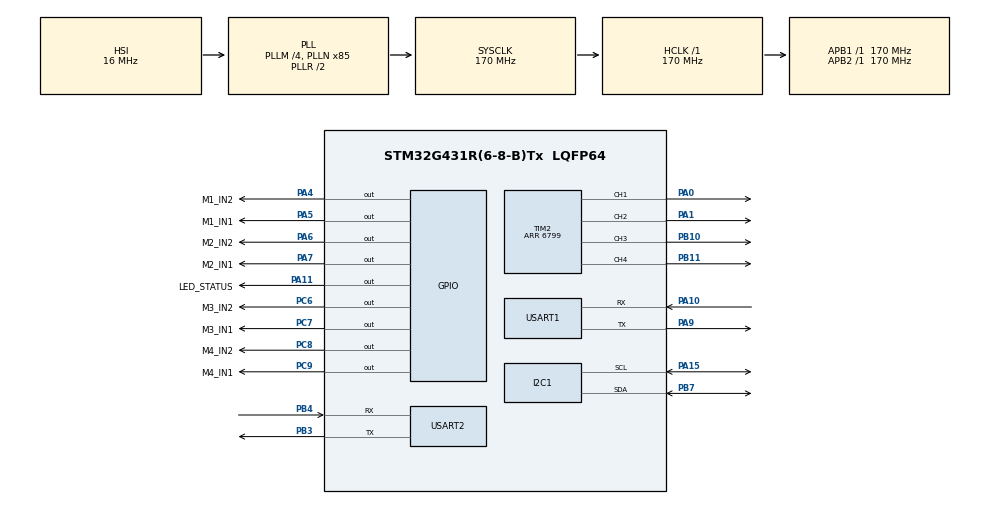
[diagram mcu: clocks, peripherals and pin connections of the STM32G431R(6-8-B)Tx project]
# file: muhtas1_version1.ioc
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I2C1.Timing=0x40B285C2
Mcu.Family=STM32G4
Mcu.Name=STM32G431R(6-8-B)Tx
Mcu.Package=LQFP64
NVIC.PriorityGroup=NVIC_PRIORITYGROUP_4
NVIC.USART1_IRQn=true\:0\:0\:false\:false\:true\:true\:true\:true
NVIC.USART2_IRQn=true\:0\:0\:false\:false\:true\:true\:true\:true
PA0.Signal=S_TIM2_CH1
PA1.Signal=S_TIM2_CH2
PA10.Mode=Asynchronous
PA10.Signal=USART1_RX
PA11.GPIO_Label=LED_STATUS
PA11.PinState=GPIO_PIN_SET
PA11.Signal=GPIO_Output
PA13.Mode=Serial_Wire
PA13.Signal=SYS_JTMS-SWDIO
PA14.Mode=Serial_Wire
PA14.Signal=SYS_JTCK-SWCLK
PA15.Mode=I2C
PA15.Signal=I2C1_SCL
PA4.GPIO_Label=M1_IN2
PA4.Signal=GPIO_Output
PA5.GPIO_Label=M1_IN1
PA5.Signal=GPIO_Output
PA6.GPIO_Label=M2_IN2
PA6.Signal=GPIO_Output
PA7.GPIO_Label=M2_IN1
PA7.Signal=GPIO_Output
PA9.Mode=Asynchronous
PA9.Signal=USART1_TX
PB10.Signal=S_TIM2_CH3
PB11.Signal=S_TIM2_CH4
PB3.Mode=Asynchronous
PB3.Signal=USART2_TX
PB4.Mode=Asynchronous
PB4.Signal=USART2_RX
PB7.Mode=I2C
PB7.Signal=I2C1_SDA
PC6.GPIO_Label=M3_IN2
PC6.Signal=GPIO_Output
PC7.GPIO_Label=M3_IN1
PC7.Signal=GPIO_Output
PC8.GPIO_Label=M4_IN2
PC8.Signal=GPIO_Output
PC9.GPIO_Label=M4_IN1
PC9.Signal=GPIO_Output
ProjectManager.HeapSize=0x200
ProjectManager.StackSize=0x400
ProjectManager.TargetToolchain=STM32CubeIDE
RCC.ADC12Freq_Value=170000000
RCC.AHBFreq_Value=170000000
RCC.APB1Freq_Value=170000000
RCC.APB1TimFreq_Value=170000000
RCC.APB2Freq_Value=170000000
RCC.APB2TimFreq_Value=170000000
RCC.CortexFreq_Value=170000000
RCC.EXTERNAL_CLOCK_VALUE=12288000
RCC.HCLKFreq_Value=170000000
RCC.HSE_VALUE=8000000
RCC.HSI48_VALUE=48000000
RCC.HSI_VALUE=16000000
RCC.LSE_VALUE=32768
RCC.PLLM=RCC_PLLM_DIV4
RCC.PLLN=85
RCC.SYSCLKFreq_VALUE=170000000
RCC.SYSCLKSource=RCC_SYSCLKSOURCE_PLLCLK
RCC.USBFreq_Value=170000000
RCC.VCOOutputFreq_Value=340000000
SH.S_TIM2_CH1.0=TIM2_CH1,PWM Generation1 CH1
SH.S_TIM2_CH2.0=TIM2_CH2,PWM Generation2 CH2
SH.S_TIM2_CH3.0=TIM2_CH3,PWM Generation3 CH3
SH.S_TIM2_CH4.0=TIM2_CH4,PWM Generation4 CH4
TIM2.Channel-PWM\ Generation1\ CH1=TIM_CHANNEL_1
TIM2.Channel-PWM\ Generation2\ CH2=TIM_CHANNEL_2
TIM2.Channel-PWM\ Generation3\ CH3=TIM_CHANNEL_3
TIM2.Channel-PWM\ Generation4\ CH4=TIM_CHANNEL_4
TIM2.PeriodNoDither=6799
USART1.VirtualMode-Asynchronous=VM_ASYNC
USART2.VirtualMode-Asynchronous=VM_ASYNC
VP_SYS_VS_DBSignals.Mode=DisableDeadBatterySignals
VP_TIM2_VS_ClockSourceINT.Mode=Internal
board=custom

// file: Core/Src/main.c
/* USER CODE BEGIN Header */
/**
  ******************************************************************************
  * @file           : main.c
  * @brief          : Main program body
  ******************************************************************************
  * @attention
  *
  * Copyright (c) 2025 STMicroelectronics.
  * All rights reserved.
  *
  * This software is licensed under terms that can be found in the LICENSE file
  * in the root directory of this software component.
  * If no LICENSE file comes with this software, it is provided AS-IS.
  *
  ******************************************************************************
  */
/* USER CODE END Header */
#include "main.h"

/* USER CODE BEGIN Includes */
#include <stdio.h>
#include <string.h>
#include <stdlib.h> // atoi fonksiyonu için
//deneme

/* USER CODE END Includes */

I2C_HandleTypeDef hi2c1;

TIM_HandleTypeDef htim2;

UART_HandleTypeDef huart1;
UART_HandleTypeDef huart2;

/* USER CODE BEGIN PV */
// --- Motor Nesnesi Yapısı ---
typedef struct {
    uint8_t voltage_mode;       // 5V veya 12V
    uint16_t max_pwm_limit;     // PWM üst limiti

    // Donanım Bağlantıları
    GPIO_TypeDef* port_in1;
    uint16_t pin_in1;
    GPIO_TypeDef* port_in2;
    uint16_t pin_in2;
    TIM_HandleTypeDef* htim;
    uint32_t channel;

    // Hedef ve Durum
    volatile uint16_t target_pwm;
    volatile int8_t target_dir;     // 1: İleri, -1: Geri, 0: Fren

    // Rampa Değişkenleri
    float current_pwm;
    int8_t current_dir;
} Motor_t;

Motor_t motors[4]; // 4 Motorumuz

// --- UART ve Tampon ---
#define RX_BUFFER_SIZE 32
uint8_t rx_temp;
uint8_t rx_buffer[RX_BUFFER_SIZE];
uint8_t rx_index = 0;
volatile uint8_t data_ready = 0; // Veri geldi bayrağı

char tx_buffer[128]; // Gönderim tamponu

// --- Sistem Durumu ---
uint8_t system_state = 0; // 0: Kurulum Modu, 1: Çalışma Modu
uint8_t config_step = 0;  // Hangi motoru soruyoruz?

// --- Ayarlar ---
#define PWM_PERIOD 6799
#define RAMP_STEP 50.0f  // Hızlanma adımı
#define RAMP_DELAY 10    // Döngü gecikmesi (ms)

/* USER CODE END PV */

void SystemClock_Config(void);
static void MX_GPIO_Init(void);
static void MX_TIM2_Init(void);
static void MX_USART2_UART_Init(void);
static void MX_I2C1_Init(void);
static void MX_USART1_UART_Init(void);
/* USER CODE BEGIN PFP */
void Motor_Init_Structs(void);
void Motor_SetVoltage(uint8_t index, uint8_t voltage);
void Motor_Update(void);
void Ask_Next_Config(void);
void Process_Command(char* cmd);

/* USER CODE END PFP */

/* USER CODE BEGIN 0 */
// 1. Structları Donanımla Eşleştirme
void Motor_Init_Structs(void)
{
    // MOTOR 1
    motors[0].htim = &htim2; motors[0].channel = TIM_CHANNEL_1;
    motors[0].port_in1 = M1_IN1_GPIO_Port; motors[0].pin_in1 = M1_IN1_Pin;
    motors[0].port_in2 = M1_IN2_GPIO_Port; motors[0].pin_in2 = M1_IN2_Pin;

    // MOTOR 2
    motors[1].htim = &htim2; motors[1].channel = TIM_CHANNEL_2;
    motors[1].port_in1 = M2_IN1_GPIO_Port; motors[1].pin_in1 = M2_IN1_Pin;
    motors[1].port_in2 = M2_IN2_GPIO_Port; motors[1].pin_in2 = M2_IN2_Pin;

    // MOTOR 3
    motors[2].htim = &htim2; motors[2].channel = TIM_CHANNEL_3;
    motors[2].port_in1 = M3_IN1_GPIO_Port; motors[2].pin_in1 = M3_IN1_Pin;
    motors[2].port_in2 = M3_IN2_GPIO_Port; motors[2].pin_in2 = M3_IN2_Pin;

    // MOTOR 4
    motors[3].htim = &htim2; motors[3].channel = TIM_CHANNEL_4;
    motors[3].port_in1 = M4_IN1_GPIO_Port; motors[3].pin_in1 = M4_IN1_Pin;
    motors[3].port_in2 = M4_IN2_GPIO_Port; motors[3].pin_in2 = M4_IN2_Pin;
}

// 2. Voltaj Limiti Ayarlama
void Motor_SetVoltage(uint8_t index, uint8_t voltage)
{
    if(index >= 4) return;
    motors[index].voltage_mode = voltage;

    if(voltage == 5) {
        // 12V girişten 5V çıkış (%41.6)
        motors[index].max_pwm_limit = (uint16_t)(PWM_PERIOD * 0.416f);
    } else {
        motors[index].max_pwm_limit = PWM_PERIOD;
    }
}

// 3. Kullanıcıya Soru Sorma (Kurulum Sihirbazı)
void Ask_Next_Config(void)
{
    if (config_step < 4) {
        sprintf(tx_buffer, ">> Motor %d Calisma Voltaji? (5 veya 12): ", config_step + 1);
        HAL_UART_Transmit(&huart2, (uint8_t*)tx_buffer, strlen(tx_buffer), 100);
    } else {
        system_state = 1; // Çalışma moduna geç
        sprintf(tx_buffer, "\r\n--- KURULUM TAMAMLANDI ---\r\nHazir. Ornek: 'M1 F 50' veya 'A F'\r\n");
        HAL_UART_Transmit(&huart2, (uint8_t*)tx_buffer, strlen(tx_buffer), 100);
    }
}

// 4. Gelen Veriyi İşleme
void Process_Command(char* cmd)
{
    // Komutun başındaki boşlukları ve görünmez karakterleri atla
    char* p = cmd;
    while (*p == ' ' || *p == '\t' || *p == '\r' || *p == '\n') p++;

    // Eğer boş komutsa çık
    if (*p == 0) return;

    // --- MOD 0: KURULUM ---
    if (system_state == 0)
    {
        int voltage = atoi(p);
        if (voltage == 5 || voltage == 12) {
            Motor_SetVoltage(config_step, voltage);
            sprintf(tx_buffer, "   -> M%d: %dV OK.\r\n", config_step + 1, voltage);
            HAL_UART_Transmit(&huart2, (uint8_t*)tx_buffer, strlen(tx_buffer), 100);
            config_step++;
            Ask_Next_Config();
        } else {
            sprintf(tx_buffer, "   HATALI! Sadece 5 veya 12 giriniz.\r\n");
            HAL_UART_Transmit(&huart2, (uint8_t*)tx_buffer, strlen(tx_buffer), 100);
            Ask_Next_Config();
        }
    }
    // --- MOD 1: ÇALIŞMA ---
    else
    {
        // Toplu Komutlar
        if (p[0] == 'A') {
            char action;
            if (sscanf(p, "A %c", &action) == 1) {
                for(int i=0; i<4; i++) {
                    if (action == 'B') { motors[i].target_dir = 0; motors[i].target_pwm = 0; }
                    else if (action == 'F') motors[i].target_dir = 1;
                    else if (action == 'R') motors[i].target_dir = -1;
                }
                HAL_UART_Transmit(&huart2, (uint8_t*)"OK\r\n", 4, 100);
            }
        }
        // Tekil Komutlar
        else if (p[0] == 'M') {
            int m_id, spd_perc;
            char dir_chr;
            if (sscanf(p, "M%d %c %d", &m_id, &dir_chr, &spd_perc) == 3) {
                if (m_id >= 1 && m_id <= 4) {
                    int idx = m_id - 1;
                    if (dir_chr == 'F') motors[idx].target_dir = 1;
                    else if (dir_chr == 'R') motors[idx].target_dir = -1;
                    else if (dir_chr == 'B') motors[idx].target_dir = 0;

                    uint32_t calc = (motors[idx].max_pwm_limit * spd_perc) / 100;
                    motors[idx].target_pwm = (uint16_t)calc;

                    HAL_UART_Transmit(&huart2, (uint8_t*)"OK\r\n", 4, 100);
                }
            }
        }
    }

    // İşimiz bitti, buffer'ı sıfırla ki sonraki komuta "hayalet" karakter kalmasın.
    memset(rx_buffer, 0, RX_BUFFER_SIZE);
}

// 5. Motor Güncelleme (Rampa ve Güvenlik)
void Motor_Update(void)
{
    for(int i = 0; i < 4; i++)
    {
        // Yön Değişimi Güvenliği
        if (motors[i].current_dir != motors[i].target_dir)
        {
            if (motors[i].current_pwm > 0) {
                motors[i].current_pwm -= RAMP_STEP * 2; // Hızlı yavaşla
                if (motors[i].current_pwm < 0) motors[i].current_pwm = 0;
            } else {
                motors[i].current_dir = motors[i].target_dir; // Durunca yön değiştir
            }
        }
        else // Yön aynı ise normal rampa
        {
            if (motors[i].current_pwm < motors[i].target_pwm) {
                motors[i].current_pwm += RAMP_STEP;
                if(motors[i].current_pwm > motors[i].target_pwm) motors[i].current_pwm = motors[i].target_pwm;
            }
            else if (motors[i].current_pwm > motors[i].target_pwm) {
                motors[i].current_pwm -= RAMP_STEP;
                if(motors[i].current_pwm < 0) motors[i].current_pwm = 0;
            }
        }

        // Donanıma Uygula (Pinler)
        if (motors[i].current_dir == 1) { // İleri
            HAL_GPIO_WritePin(motors[i].port_in1, motors[i].pin_in1, GPIO_PIN_SET);
            HAL_GPIO_WritePin(motors[i].port_in2, motors[i].pin_in2, GPIO_PIN_RESET);
        } else if (motors[i].current_dir == -1) { // Geri
            HAL_GPIO_WritePin(motors[i].port_in1, motors[i].pin_in1, GPIO_PIN_RESET);
            HAL_GPIO_WritePin(motors[i].port_in2, motors[i].pin_in2, GPIO_PIN_SET);
        } else { // Fren
            HAL_GPIO_WritePin(motors[i].port_in1, motors[i].pin_in1, GPIO_PIN_SET);
            HAL_GPIO_WritePin(motors[i].port_in2, motors[i].pin_in2, GPIO_PIN_SET);
        }

        // Donanıma Uygula (PWM)
        __HAL_TIM_SET_COMPARE(motors[i].htim, motors[i].channel, (uint16_t)motors[i].current_pwm);
    }
}

/* USER CODE END 0 */

int main(void)
{

  /* MCU Configuration--------------------------------------------------------*/

  /* Reset of all peripherals, Initializes the Flash interface and the Systick. */
  HAL_Init();

  /* Configure the system clock */
  SystemClock_Config();

  /* Initialize all configured peripherals */
  MX_GPIO_Init();
  MX_TIM2_Init();
  MX_USART2_UART_Init();
  MX_I2C1_Init();
  MX_USART1_UART_Init();
  /* USER CODE BEGIN 2 */

  Motor_Init_Structs();

    // PWM Başlat
    HAL_TIM_PWM_Start(&htim2, TIM_CHANNEL_1);
    HAL_TIM_PWM_Start(&htim2, TIM_CHANNEL_2);
    HAL_TIM_PWM_Start(&htim2, TIM_CHANNEL_3);
    HAL_TIM_PWM_Start(&htim2, TIM_CHANNEL_4);

    // UART Dinle
    HAL_UART_Receive_IT(&huart2, &rx_temp, 1);

    // Sistemi Başlat (Ekran Temizle ve İlk Soruyu Sor)
    HAL_UART_Transmit(&huart2, (uint8_t*)"\033[2J\033[H", 7, 100); // Ekran temizle
    HAL_UART_Transmit(&huart2, (uint8_t*)"=== SISTEM BASLADI ===\r\n", 24, 100);
    Ask_Next_Config();

  /* USER CODE END 2 */

  /* Infinite loop */
  /* USER CODE BEGIN WHILE */
  while (1)
  {

	  if (data_ready) {
	            Process_Command((char*)rx_buffer);
	            data_ready = 0;
	        }

	        Motor_Update();
	        HAL_Delay(RAMP_DELAY);
    /* USER CODE END WHILE */

  }
}

void SystemClock_Config(void)
{
  RCC_OscInitTypeDef RCC_OscInitStruct = {0};
  RCC_ClkInitTypeDef RCC_ClkInitStruct = {0};

  /** Configure the main internal regulator output voltage
  */
  HAL_PWREx_ControlVoltageScaling(PWR_REGULATOR_VOLTAGE_SCALE1_BOOST);

  /** Initializes the RCC Oscillators according to the specified parameters
  * in the RCC_OscInitTypeDef structure.
  */
  RCC_OscInitStruct.OscillatorType = RCC_OSCILLATORTYPE_HSI;
  RCC_OscInitStruct.HSIState = RCC_HSI_ON;
  RCC_OscInitStruct.HSICalibrationValue = RCC_HSICALIBRATION_DEFAULT;
  RCC_OscInitStruct.PLL.PLLState = RCC_PLL_ON;
  RCC_OscInitStruct.PLL.PLLSource = RCC_PLLSOURCE_HSI;
  RCC_OscInitStruct.PLL.PLLM = RCC_PLLM_DIV4;
  RCC_OscInitStruct.PLL.PLLN = 85;
  RCC_OscInitStruct.PLL.PLLP = RCC_PLLP_DIV2;
  RCC_OscInitStruct.PLL.PLLQ = RCC_PLLQ_DIV2;
  RCC_OscInitStruct.PLL.PLLR = RCC_PLLR_DIV2;
  if (HAL_RCC_OscConfig(&RCC_OscInitStruct) != HAL_OK)
  {
    Error_Handler();
  }

  /** Initializes the CPU, AHB and APB buses clocks
  */
  RCC_ClkInitStruct.ClockType = RCC_CLOCKTYPE_HCLK|RCC_CLOCKTYPE_SYSCLK
                              |RCC_CLOCKTYPE_PCLK1|RCC_CLOCKTYPE_PCLK2;
  RCC_ClkInitStruct.SYSCLKSource = RCC_SYSCLKSOURCE_PLLCLK;
  RCC_ClkInitStruct.AHBCLKDivider = RCC_SYSCLK_DIV1;
  RCC_ClkInitStruct.APB1CLKDivider = RCC_HCLK_DIV1;
  RCC_ClkInitStruct.APB2CLKDivider = RCC_HCLK_DIV1;

  if (HAL_RCC_ClockConfig(&RCC_ClkInitStruct, FLASH_LATENCY_4) != HAL_OK)
  {
    Error_Handler();
  }
}

static void MX_I2C1_Init(void)
{

  hi2c1.Instance = I2C1;
  hi2c1.Init.Timing = 0x40B285C2;
  hi2c1.Init.OwnAddress1 = 0;
  hi2c1.Init.AddressingMode = I2C_ADDRESSINGMODE_7BIT;
  hi2c1.Init.DualAddressMode = I2C_DUALADDRESS_DISABLE;
  hi2c1.Init.OwnAddress2 = 0;
  hi2c1.Init.OwnAddress2Masks = I2C_OA2_NOMASK;
  hi2c1.Init.GeneralCallMode = I2C_GENERALCALL_DISABLE;
  hi2c1.Init.NoStretchMode = I2C_NOSTRETCH_DISABLE;
  if (HAL_I2C_Init(&hi2c1) != HAL_OK)
  {
    Error_Handler();
  }

  /** Configure Analogue filter
  */
  if (HAL_I2CEx_ConfigAnalogFilter(&hi2c1, I2C_ANALOGFILTER_ENABLE) != HAL_OK)
  {
    Error_Handler();
  }

  /** Configure Digital filter
  */
  if (HAL_I2CEx_ConfigDigitalFilter(&hi2c1, 0) != HAL_OK)
  {
    Error_Handler();
  }

}

static void MX_TIM2_Init(void)
{

  TIM_ClockConfigTypeDef sClockSourceConfig = {0};
  TIM_MasterConfigTypeDef sMasterConfig = {0};
  TIM_OC_InitTypeDef sConfigOC = {0};

  htim2.Instance = TIM2;
  htim2.Init.Prescaler = 0;
  htim2.Init.CounterMode = TIM_COUNTERMODE_UP;
  htim2.Init.Period = 6799;
  htim2.Init.ClockDivision = TIM_CLOCKDIVISION_DIV1;
  htim2.Init.AutoReloadPreload = TIM_AUTORELOAD_PRELOAD_DISABLE;
  if (HAL_TIM_Base_Init(&htim2) != HAL_OK)
  {
    Error_Handler();
  }
  sClockSourceConfig.ClockSource = TIM_CLOCKSOURCE_INTERNAL;
  if (HAL_TIM_ConfigClockSource(&htim2, &sClockSourceConfig) != HAL_OK)
  {
    Error_Handler();
  }
  if (HAL_TIM_PWM_Init(&htim2) != HAL_OK)
  {
    Error_Handler();
  }
  sMasterConfig.MasterOutputTrigger = TIM_TRGO_RESET;
  sMasterConfig.MasterSlaveMode = TIM_MASTERSLAVEMODE_DISABLE;
  if (HAL_TIMEx_MasterConfigSynchronization(&htim2, &sMasterConfig) != HAL_OK)
  {
    Error_Handler();
  }
  sConfigOC.OCMode = TIM_OCMODE_PWM1;
  sConfigOC.Pulse = 0;
  sConfigOC.OCPolarity = TIM_OCPOLARITY_HIGH;
  sConfigOC.OCFastMode = TIM_OCFAST_DISABLE;
  if (HAL_TIM_PWM_ConfigChannel(&htim2, &sConfigOC, TIM_CHANNEL_1) != HAL_OK)
  {
    Error_Handler();
  }
  if (HAL_TIM_PWM_ConfigChannel(&htim2, &sConfigOC, TIM_CHANNEL_2) != HAL_OK)
  {
    Error_Handler();
  }
  if (HAL_TIM_PWM_ConfigChannel(&htim2, &sConfigOC, TIM_CHANNEL_3) != HAL_OK)
  {
    Error_Handler();
  }
  if (HAL_TIM_PWM_ConfigChannel(&htim2, &sConfigOC, TIM_CHANNEL_4) != HAL_OK)
  {
    Error_Handler();
  }
  HAL_TIM_MspPostInit(&htim2);

}

static void MX_USART1_UART_Init(void)
{

  huart1.Instance = USART1;
  huart1.Init.BaudRate = 115200;
  huart1.Init.WordLength = UART_WORDLENGTH_8B;
  huart1.Init.StopBits = UART_STOPBITS_1;
  huart1.Init.Parity = UART_PARITY_NONE;
  huart1.Init.Mode = UART_MODE_TX_RX;
  huart1.Init.HwFlowCtl = UART_HWCONTROL_NONE;
  huart1.Init.OverSampling = UART_OVERSAMPLING_16;
  huart1.Init.OneBitSampling = UART_ONE_BIT_SAMPLE_DISABLE;
  huart1.Init.ClockPrescaler = UART_PRESCALER_DIV1;
  huart1.AdvancedInit.AdvFeatureInit = UART_ADVFEATURE_NO_INIT;
  if (HAL_UART_Init(&huart1) != HAL_OK)
  {
    Error_Handler();
  }
  if (HAL_UARTEx_SetTxFifoThreshold(&huart1, UART_TXFIFO_THRESHOLD_1_8) != HAL_OK)
  {
    Error_Handler();
  }
  if (HAL_UARTEx_SetRxFifoThreshold(&huart1, UART_RXFIFO_THRESHOLD_1_8) != HAL_OK)
  {
    Error_Handler();
  }
  if (HAL_UARTEx_DisableFifoMode(&huart1) != HAL_OK)
  {
    Error_Handler();
  }

}

static void MX_USART2_UART_Init(void)
{

  huart2.Instance = USART2;
  huart2.Init.BaudRate = 115200;
  huart2.Init.WordLength = UART_WORDLENGTH_8B;
  huart2.Init.StopBits = UART_STOPBITS_1;
  huart2.Init.Parity = UART_PARITY_NONE;
  huart2.Init.Mode = UART_MODE_TX_RX;
  huart2.Init.HwFlowCtl = UART_HWCONTROL_NONE;
  huart2.Init.OverSampling = UART_OVERSAMPLING_16;
  huart2.Init.OneBitSampling = UART_ONE_BIT_SAMPLE_DISABLE;
  huart2.Init.ClockPrescaler = UART_PRESCALER_DIV1;
  huart2.AdvancedInit.AdvFeatureInit = UART_ADVFEATURE_NO_INIT;
  if (HAL_UART_Init(&huart2) != HAL_OK)
  {
    Error_Handler();
  }
  if (HAL_UARTEx_SetTxFifoThreshold(&huart2, UART_TXFIFO_THRESHOLD_1_8) != HAL_OK)
  {
    Error_Handler();
  }
  if (HAL_UARTEx_SetRxFifoThreshold(&huart2, UART_RXFIFO_THRESHOLD_1_8) != HAL_OK)
  {
    Error_Handler();
  }
  if (HAL_UARTEx_DisableFifoMode(&huart2) != HAL_OK)
  {
    Error_Handler();
  }

}

static void MX_GPIO_Init(void)
{
  GPIO_InitTypeDef GPIO_InitStruct = {0};

  /* GPIO Ports Clock Enable */
  __HAL_RCC_GPIOA_CLK_ENABLE();
  __HAL_RCC_GPIOB_CLK_ENABLE();
  __HAL_RCC_GPIOC_CLK_ENABLE();

  /*Configure GPIO pin Output Level */
  HAL_GPIO_WritePin(GPIOA, M1_IN2_Pin|M1_IN1_Pin|M2_IN2_Pin|M2_IN1_Pin, GPIO_PIN_RESET);

  /*Configure GPIO pin Output Level */
  HAL_GPIO_WritePin(GPIOC, M3_IN2_Pin|M3_IN1_Pin|M4_IN2_Pin|M4_IN1_Pin, GPIO_PIN_RESET);

  /*Configure GPIO pin Output Level */
  HAL_GPIO_WritePin(LED_STATUS_GPIO_Port, LED_STATUS_Pin, GPIO_PIN_SET);

  /*Configure GPIO pins : M1_IN2_Pin M1_IN1_Pin M2_IN2_Pin M2_IN1_Pin
                           LED_STATUS_Pin */
  GPIO_InitStruct.Pin = M1_IN2_Pin|M1_IN1_Pin|M2_IN2_Pin|M2_IN1_Pin
                          |LED_STATUS_Pin;
  GPIO_InitStruct.Mode = GPIO_MODE_OUTPUT_PP;
  GPIO_InitStruct.Pull = GPIO_NOPULL;
  GPIO_InitStruct.Speed = GPIO_SPEED_FREQ_LOW;
  HAL_GPIO_Init(GPIOA, &GPIO_InitStruct);

  /*Configure GPIO pins : M3_IN2_Pin M3_IN1_Pin M4_IN2_Pin M4_IN1_Pin */
  GPIO_InitStruct.Pin = M3_IN2_Pin|M3_IN1_Pin|M4_IN2_Pin|M4_IN1_Pin;
  GPIO_InitStruct.Mode = GPIO_MODE_OUTPUT_PP;
  GPIO_InitStruct.Pull = GPIO_NOPULL;
  GPIO_InitStruct.Speed = GPIO_SPEED_FREQ_LOW;
  HAL_GPIO_Init(GPIOC, &GPIO_InitStruct);

}

/* USER CODE BEGIN 4 */
void HAL_UART_RxCpltCallback(UART_HandleTypeDef *huart)
{
    if (huart->Instance == USART2)
    {
        // Gelen karakter 'Enter' (\n veya \r) mı?
        if (rx_temp == '\n' || rx_temp == '\r')
        {
            // Eğer buffer doluysa (gerçekten bir komut yazılmışsa)
            if (rx_index > 0) {
                rx_buffer[rx_index] = '\0'; // Stringi kapat
                data_ready = 1;             // Main'e haber ver
                rx_index = 0;               // Sayacı sıfırla
            }
            // Eğer buffer boşsa (rx_index == 0) ve Enter geldiyse;
            // Bu, CR+LF ikilisinin ikinci parçasıdır veya boş Enter'dır.
            // HİÇBİR ŞEY YAPMA (Görmezden gel).
        }
        else
        {
            // Normal karakter geldiyse ve yer varsa kaydet
            if (rx_index < RX_BUFFER_SIZE - 1) {
                rx_buffer[rx_index++] = rx_temp;
            }
        }

        // Dinlemeye devam et
        HAL_UART_Receive_IT(&huart2, &rx_temp, 1);
    }
}

/* USER CODE END 4 */

void Error_Handler(void)
{
  __disable_irq();
  while (1)
  {
  }
}
